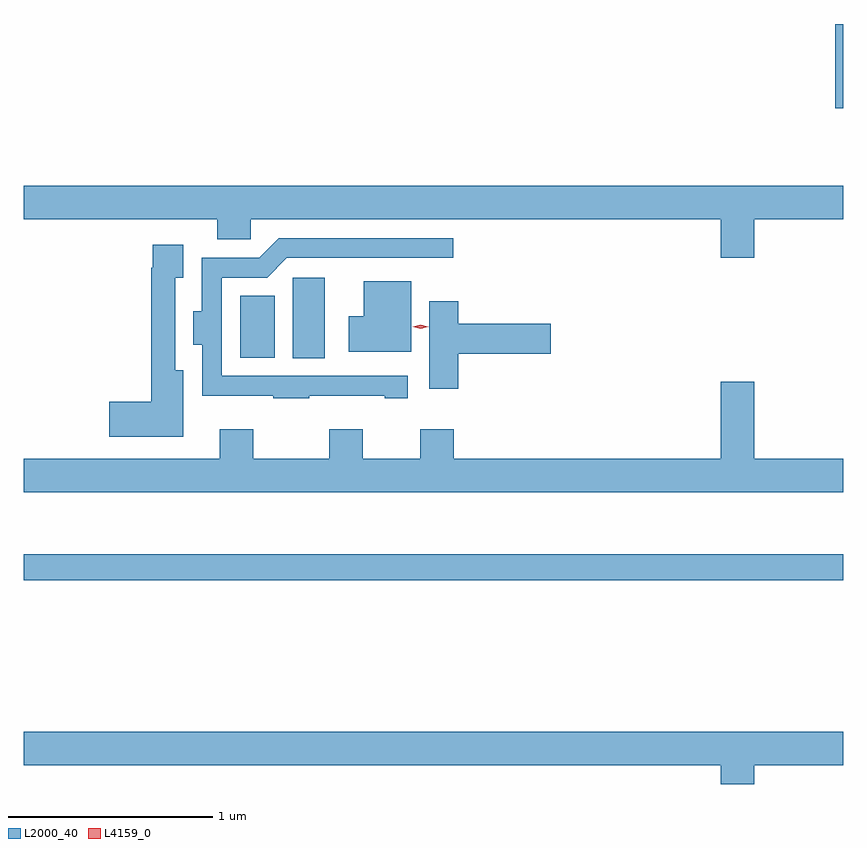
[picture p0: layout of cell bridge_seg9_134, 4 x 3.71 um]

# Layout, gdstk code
import gdstk
lib = gdstk.Library(unit=1e-6, precision=1e-09)
def R(c, l, rs):  # rectangles x0, y0, x1, y1
    for r in rs: c.add(gdstk.rectangle(r[:2], r[2:], *l))
def P(c, l, *ps):  # polygons
    for p in ps: c.add(gdstk.Polygon(p, *l))
L2000_40 = (2000, 40)
L4159_0 = (4159, 0)

bridge_seg9_134 = lib.new_cell('bridge_seg9_134')
R(bridge_seg9_134, L2000_40, [(497.27,1225.294,501.27,1225.423), (498.584,1226.377,498.739,1226.772), (498.326,1226.381,498.496,1226.683), (501.23,1227.599,501.27,1228.009)])
P(bridge_seg9_134, L2000_40, [(500.836,1227.056),(501.27,1227.056),(501.27,1227.22),(497.27,1227.22),(497.27,1227.056),(498.215,1227.056),(498.215,1226.958),(498.378,1226.958),(498.378,1227.056),(500.672,1227.056),(500.672,1226.868),(500.836,1226.868)],
  [(498.665,1226.195),(499.031,1226.195),(499.031,1226.184),(499.144,1226.184),(499.144,1226.292),(498.237,1226.292),(498.237,1226.772),(498.459,1226.772),(498.555,1226.868),(499.366,1226.868),(499.366,1226.964),(498.516,1226.964),(498.42,1226.868),(498.14,1226.868),(498.14,1226.608),(498.098,1226.608),(498.098,1226.444),(498.141,1226.444),(498.141,1226.195),(498.487,1226.195),(498.487,1226.184),(498.665,1226.184)],
  [(498.049,1226.32),(498.009,1226.32),(498.009,1226.771),(498.049,1226.771),(498.049,1226.932),(497.901,1226.932),(497.901,1226.819),(497.893,1226.819),(497.893,1226.165),(497.688,1226.165),(497.688,1225.994),(498.049,1225.994)],
  [(499.162,1226.755),(498.929,1226.755),(498.929,1226.584),(498.857,1226.584),(498.857,1226.411),(499.162,1226.411)],
  [(499.391,1226.399),(499.843,1226.399),(499.843,1226.546),(499.391,1226.546),(499.391,1226.656),(499.25,1226.656),(499.25,1226.229),(499.391,1226.229)],
  [(501.27,1225.888),(500.836,1225.888),(500.836,1226.263),(500.672,1226.263),(500.672,1225.888),(499.369,1225.888),(499.369,1226.032),(499.205,1226.032),(499.205,1225.888),(498.925,1225.888),(498.925,1226.032),(498.761,1226.032),(498.761,1225.888),(498.391,1225.888),(498.391,1226.032),(498.227,1226.032),(498.227,1225.888),(497.27,1225.888),(497.27,1225.724),(501.27,1225.724)],
  [(500.836,1224.392),(501.27,1224.392),(501.27,1224.556),(497.27,1224.556),(497.27,1224.392),(500.672,1224.392),(500.672,1224.301),(500.836,1224.301)])
P(bridge_seg9_134, L4159_0, [(499.207,1226.522),(499.168,1226.531),(499.168,1226.532),(499.168,1226.532),(499.207,1226.542),(499.245,1226.532),(499.245,1226.532),(499.245,1226.531)])

lib.write_gds('bridge_seg9_134.gds')
